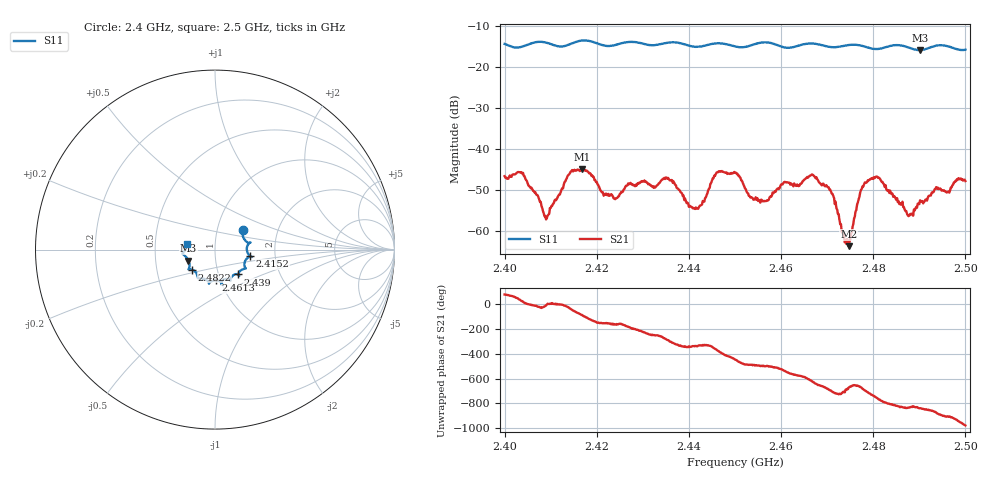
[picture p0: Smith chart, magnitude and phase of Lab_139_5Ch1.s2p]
# Hz S RI R 50
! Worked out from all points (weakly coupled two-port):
!   601 points, 2.4 GHz to 2.5 GHz, reference 50 ohm
!   highest |S21| = -44.89 dB at 2.4168 GHz (marker M1); lowest = -63.6 dB at 2.4747 GHz (marker M2)
!   lowest |S11| = -15.9 dB at 2.4902 GHz (marker M3), VSWR 1.38, Z = 36.9 - j4.62 ohm
!   |S11| at or under -10 dB: start of sweep to end of sweep
!   S12 and S22 are empty: the file has one direction only
!   S11 on the Smith chart (normalised r, x): 2.4 GHz: 1.33, +0.30; 2.4152 GHz: 1.48, -0.11; 2.439 GHz: 1.24, -0.35; 2.4613 GHz: 0.96, -0.34; 2.4822 GHz: 0.76, -0.17; 2.5 GHz: 0.73, +0.05
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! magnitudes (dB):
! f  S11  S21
! 2.4 GHz  -14.4  -46.6
! 2.4038 GHz  -15.1  -46.0
! 2.4092 GHz  -14.1  -56.8
! 2.4152 GHz  -14.1  -45.0
! 2.4167 GHz  -13.6  -44.9
! 2.4168 GHz  -13.6  -44.9
! 2.424 GHz  -14.7  -52.2
! 2.4333 GHz  -14.6  -48.6
! 2.439 GHz  -14.5  -52.4
! 2.4418 GHz  -15.1  -54.4
! 2.45 GHz  -15.0  -45.8
! 2.4555 GHz  -14.1  -53.0
! 2.4613 GHz  -15.4  -48.0
! 2.4667 GHz  -14.3  -46.2
! 2.4708 GHz  -15.2  -50.3
! 2.4747 GHz  -14.7  -63.6
! 2.4778 GHz  -15.0  -49.1
! 2.4822 GHz  -15.4  -48.4
! 2.4833 GHz  -15.0  -50.0
! 2.4878 GHz  -15.3  -56.2
! 2.4902 GHz  -15.9  -52.4
! 2.5 GHz  -15.8  -47.8
